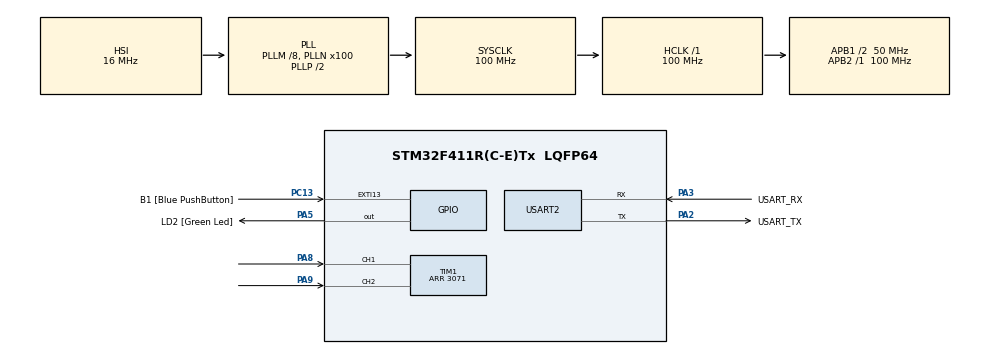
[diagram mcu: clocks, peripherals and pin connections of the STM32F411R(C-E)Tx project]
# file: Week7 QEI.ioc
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Mcu.Family=STM32F4
PC15-OSC32_OUT.Mode=LSE-External-Oscillator
RCC.CortexFreq_Value=100000000
VP_ARM.CMSIS_VS_CMSISJjCORE_5.3.0_5.6.0.Mode=CMSISJjCORE
PC13-ANTI_TAMP.GPIO_Label=B1 [Blue PushButton]
PA14.GPIO_Label=TCK
PH1\ -\ OSC_OUT.Mode=HSE-External-Clock-Source
ARM.CMSIS.5.6.0.CMSISJjDSP=Library
TIM1.EncoderMode=TIM_ENCODERMODE_TI12
RCC.APB1CLKDivider=RCC_HCLK_DIV2
PC14-OSC32_IN.Signal=RCC_OSC32_IN
RCC.SYSCLKSource=RCC_SYSCLKSOURCE_PLLCLK
ProjectManager.StackSize=0x400
PA3.Mode=Asynchronous
PA13.Signal=SYS_JTMS-SWDIO
PH0\ -\ OSC_IN.Mode=HSE-External-Clock-Source
SH.S_TIM1_CH1.0=TIM1_CH1,Encoder_Interface
PH0\ -\ OSC_IN.Signal=RCC_OSC_IN
ProjectManager.TargetToolchain=STM32CubeIDE
RCC.HCLKFreq_Value=100000000
RCC.APB2TimFreq_Value=100000000
PA9.Signal=S_TIM1_CH2
PC15-OSC32_OUT.Signal=RCC_OSC32_OUT
RCC.AHBFreq_Value=100000000
ARM.CMSIS.5.6.0.CMSISJjCORE=true
PA5.Signal=GPIO_Output
RCC.HSE_VALUE=8000000
PH1\ -\ OSC_OUT.Signal=RCC_OSC_OUT
board=NUCLEO-F411RE
PC13-ANTI_TAMP.Signal=GPXTI13
RCC.VCOOutputFreq_Value=200000000
VP_ARM.CMSIS_VS_CMSISJjDSP_1.7.0_5.6.0.Mode=CMSISJjDSP
RCC.APB2Freq_Value=100000000
PC14-OSC32_IN.Mode=LSE-External-Oscillator
SH.S_TIM1_CH2.0=TIM1_CH2,Encoder_Interface
VP_TIM2_VS_ClockSourceINT.Mode=Internal
PA14.Mode=Serial_Wire
NVIC.TIM2_IRQn=true\:0\:0\:false\:false\:true\:true\:true
PA8.Signal=S_TIM1_CH1
PA13.Mode=Serial_Wire
Mcu.Name=STM32F411R(C-E)Tx
PA2.Signal=USART2_TX
PA13.GPIO_Label=TMS
RCC.FLatency-AdvancedSettings=FLASH_LATENCY_3
RCC.48MHZClocksFreq_Value=50000000
PB3.Signal=SYS_JTDO-SWO
RCC.SYSCLKFreq_VALUE=100000000
Mcu.Package=LQFP64
TIM2.Prescaler=99
PA5.GPIO_Label=LD2 [Green Led]
USART2.VirtualMode=VM_ASYNC
PC13-ANTI_TAMP.GPIO_ModeDefaultEXTI=GPIO_MODE_IT_FALLING
PA2.GPIO_Label=USART_TX
PA14.Signal=SYS_JTCK-SWCLK
ProjectManager.HeapSize=0x200
RCC.HSI_VALUE=16000000
NVIC.PriorityGroup=NVIC_PRIORITYGROUP_0
RCC.PLLM=8
RCC.PLLN=100
RCC.APB1TimFreq_Value=100000000
PA2.Mode=Asynchronous
TIM1.Period=3071
RCC.APB1Freq_Value=50000000
PA3.GPIO_Label=USART_RX
PA3.Signal=USART2_RX
PB3.GPIO_Label=SWO

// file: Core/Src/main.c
/* USER CODE BEGIN Header */
/**
 ******************************************************************************
 * @file           : main.c
 * @brief          : Main program body
 ******************************************************************************
 * @attention
 *
 * <h2><center>&copy; Copyright (c) 2021 STMicroelectronics.
 * All rights reserved.</center></h2>
 *
 * This software component is licensed by ST under BSD 3-Clause license,
 * the "License"; You may not use this file except in compliance with the
 * License. You may obtain a copy of the License at:
 *                        opensource.org/licenses/BSD-3-Clause
 *
 ******************************************************************************
 */
/* USER CODE END Header */
#include "main.h"

/* USER CODE BEGIN Includes */
#include "arm_math.h"
/* USER CODE END Includes */

TIM_HandleTypeDef htim1;
TIM_HandleTypeDef htim2;

UART_HandleTypeDef huart2;

/* USER CODE BEGIN PV */
uint64_t _micros = 0;
float EncoderVel = 0;
uint64_t Timestamp_Encoder = 0;
/* USER CODE END PV */

void SystemClock_Config(void);
static void MX_GPIO_Init(void);
static void MX_USART2_UART_Init(void);
static void MX_TIM1_Init(void);
static void MX_TIM2_Init(void);
/* USER CODE BEGIN PFP */
uint64_t micros();
float EncoderVelocity_Update();

/* USER CODE END PFP */

int main(void)
{

  /* MCU Configuration--------------------------------------------------------*/

  /* Reset of all peripherals, Initializes the Flash interface and the Systick. */
  HAL_Init();

  /* Configure the system clock */
  SystemClock_Config();

  /* Initialize all configured peripherals */
  MX_GPIO_Init();
  MX_USART2_UART_Init();
  MX_TIM1_Init();
  MX_TIM2_Init();
  /* USER CODE BEGIN 2 */
	HAL_TIM_Base_Start_IT(&htim2);
	HAL_TIM_Encoder_Start(&htim1, TIM_CHANNEL_ALL);
  /* USER CODE END 2 */

  /* Infinite loop */
	while (1)
	{

    /* USER CODE BEGIN 3 */

		//RAW Read 1kHz/1ms
//		if (micros() - Timestamp_Encoder >= 1000) //uS
//		{
//			Timestamp_Encoder = micros();
//			EncoderVel = EncoderVelocity_Update();
//		}

		//Add LPF?
		if (micros() - Timestamp_Encoder >= 100)
		{
			Timestamp_Encoder = micros();
			EncoderVel = (EncoderVel * 99 + EncoderVelocity_Update()) / 100.0;
		}

	}
  /* USER CODE END 3 */
}

void SystemClock_Config(void)
{
  RCC_OscInitTypeDef RCC_OscInitStruct = {0};
  RCC_ClkInitTypeDef RCC_ClkInitStruct = {0};

  /** Configure the main internal regulator output voltage
  */
  __HAL_RCC_PWR_CLK_ENABLE();
  __HAL_PWR_VOLTAGESCALING_CONFIG(PWR_REGULATOR_VOLTAGE_SCALE1);
  /** Initializes the RCC Oscillators according to the specified parameters
  * in the RCC_OscInitTypeDef structure.
  */
  RCC_OscInitStruct.OscillatorType = RCC_OSCILLATORTYPE_HSI;
  RCC_OscInitStruct.HSIState = RCC_HSI_ON;
  RCC_OscInitStruct.HSICalibrationValue = RCC_HSICALIBRATION_DEFAULT;
  RCC_OscInitStruct.PLL.PLLState = RCC_PLL_ON;
  RCC_OscInitStruct.PLL.PLLSource = RCC_PLLSOURCE_HSI;
  RCC_OscInitStruct.PLL.PLLM = 8;
  RCC_OscInitStruct.PLL.PLLN = 100;
  RCC_OscInitStruct.PLL.PLLP = RCC_PLLP_DIV2;
  RCC_OscInitStruct.PLL.PLLQ = 4;
  if (HAL_RCC_OscConfig(&RCC_OscInitStruct) != HAL_OK)
  {
    Error_Handler();
  }
  /** Initializes the CPU, AHB and APB buses clocks
  */
  RCC_ClkInitStruct.ClockType = RCC_CLOCKTYPE_HCLK|RCC_CLOCKTYPE_SYSCLK
                              |RCC_CLOCKTYPE_PCLK1|RCC_CLOCKTYPE_PCLK2;
  RCC_ClkInitStruct.SYSCLKSource = RCC_SYSCLKSOURCE_PLLCLK;
  RCC_ClkInitStruct.AHBCLKDivider = RCC_SYSCLK_DIV1;
  RCC_ClkInitStruct.APB1CLKDivider = RCC_HCLK_DIV2;
  RCC_ClkInitStruct.APB2CLKDivider = RCC_HCLK_DIV1;

  if (HAL_RCC_ClockConfig(&RCC_ClkInitStruct, FLASH_LATENCY_3) != HAL_OK)
  {
    Error_Handler();
  }
}

static void MX_TIM1_Init(void)
{

  TIM_Encoder_InitTypeDef sConfig = {0};
  TIM_MasterConfigTypeDef sMasterConfig = {0};

  htim1.Instance = TIM1;
  htim1.Init.Prescaler = 0;
  htim1.Init.CounterMode = TIM_COUNTERMODE_UP;
  htim1.Init.Period = 3071;
  htim1.Init.ClockDivision = TIM_CLOCKDIVISION_DIV1;
  htim1.Init.RepetitionCounter = 0;
  htim1.Init.AutoReloadPreload = TIM_AUTORELOAD_PRELOAD_DISABLE;
  sConfig.EncoderMode = TIM_ENCODERMODE_TI12;
  sConfig.IC1Polarity = TIM_ICPOLARITY_RISING;
  sConfig.IC1Selection = TIM_ICSELECTION_DIRECTTI;
  sConfig.IC1Prescaler = TIM_ICPSC_DIV1;
  sConfig.IC1Filter = 0;
  sConfig.IC2Polarity = TIM_ICPOLARITY_RISING;
  sConfig.IC2Selection = TIM_ICSELECTION_DIRECTTI;
  sConfig.IC2Prescaler = TIM_ICPSC_DIV1;
  sConfig.IC2Filter = 0;
  if (HAL_TIM_Encoder_Init(&htim1, &sConfig) != HAL_OK)
  {
    Error_Handler();
  }
  sMasterConfig.MasterOutputTrigger = TIM_TRGO_RESET;
  sMasterConfig.MasterSlaveMode = TIM_MASTERSLAVEMODE_DISABLE;
  if (HAL_TIMEx_MasterConfigSynchronization(&htim1, &sMasterConfig) != HAL_OK)
  {
    Error_Handler();
  }

}

static void MX_TIM2_Init(void)
{

  TIM_ClockConfigTypeDef sClockSourceConfig = {0};
  TIM_MasterConfigTypeDef sMasterConfig = {0};

  htim2.Instance = TIM2;
  htim2.Init.Prescaler = 99;
  htim2.Init.CounterMode = TIM_COUNTERMODE_UP;
  htim2.Init.Period = 4294967295;
  htim2.Init.ClockDivision = TIM_CLOCKDIVISION_DIV1;
  htim2.Init.AutoReloadPreload = TIM_AUTORELOAD_PRELOAD_DISABLE;
  if (HAL_TIM_Base_Init(&htim2) != HAL_OK)
  {
    Error_Handler();
  }
  sClockSourceConfig.ClockSource = TIM_CLOCKSOURCE_INTERNAL;
  if (HAL_TIM_ConfigClockSource(&htim2, &sClockSourceConfig) != HAL_OK)
  {
    Error_Handler();
  }
  sMasterConfig.MasterOutputTrigger = TIM_TRGO_RESET;
  sMasterConfig.MasterSlaveMode = TIM_MASTERSLAVEMODE_DISABLE;
  if (HAL_TIMEx_MasterConfigSynchronization(&htim2, &sMasterConfig) != HAL_OK)
  {
    Error_Handler();
  }

}

static void MX_USART2_UART_Init(void)
{

  huart2.Instance = USART2;
  huart2.Init.BaudRate = 115200;
  huart2.Init.WordLength = UART_WORDLENGTH_8B;
  huart2.Init.StopBits = UART_STOPBITS_1;
  huart2.Init.Parity = UART_PARITY_NONE;
  huart2.Init.Mode = UART_MODE_TX_RX;
  huart2.Init.HwFlowCtl = UART_HWCONTROL_NONE;
  huart2.Init.OverSampling = UART_OVERSAMPLING_16;
  if (HAL_UART_Init(&huart2) != HAL_OK)
  {
    Error_Handler();
  }

}

static void MX_GPIO_Init(void)
{
  GPIO_InitTypeDef GPIO_InitStruct = {0};

  /* GPIO Ports Clock Enable */
  __HAL_RCC_GPIOC_CLK_ENABLE();
  __HAL_RCC_GPIOH_CLK_ENABLE();
  __HAL_RCC_GPIOA_CLK_ENABLE();
  __HAL_RCC_GPIOB_CLK_ENABLE();

  /*Configure GPIO pin Output Level */
  HAL_GPIO_WritePin(LD2_GPIO_Port, LD2_Pin, GPIO_PIN_RESET);

  /*Configure GPIO pin : B1_Pin */
  GPIO_InitStruct.Pin = B1_Pin;
  GPIO_InitStruct.Mode = GPIO_MODE_IT_FALLING;
  GPIO_InitStruct.Pull = GPIO_NOPULL;
  HAL_GPIO_Init(B1_GPIO_Port, &GPIO_InitStruct);

  /*Configure GPIO pin : LD2_Pin */
  GPIO_InitStruct.Pin = LD2_Pin;
  GPIO_InitStruct.Mode = GPIO_MODE_OUTPUT_PP;
  GPIO_InitStruct.Pull = GPIO_NOPULL;
  GPIO_InitStruct.Speed = GPIO_SPEED_FREQ_LOW;
  HAL_GPIO_Init(LD2_GPIO_Port, &GPIO_InitStruct);

}

/* USER CODE BEGIN 4 */
#define  HTIM_ENCODER htim1
#define  MAX_SUBPOSITION_OVERFLOW 1536
#define  MAX_ENCODER_PERIOD 3072

int32_t EncoderPositionDiff;
uint64_t EncoderTimeDiff;

float EncoderVelocity_Update() // Angular velocity
{

	//Save Last state
	static uint32_t EncoderLastPosition = 0;
	static uint64_t EncoderLastTimestamp = 0;

	//read data
	uint32_t EncoderNowPosition = HTIM_ENCODER.Instance->CNT;
	uint64_t EncoderNowTimestamp = micros();

	EncoderTimeDiff = EncoderNowTimestamp - EncoderLastTimestamp; //dt
	EncoderPositionDiff = EncoderNowPosition - EncoderLastPosition; //dp position

	//compensate overflow and underflow
	if (EncoderPositionDiff >= MAX_SUBPOSITION_OVERFLOW)
	{
		EncoderPositionDiff -= MAX_ENCODER_PERIOD;
	}
	else if (-EncoderPositionDiff >= MAX_SUBPOSITION_OVERFLOW)
	{
		EncoderPositionDiff += MAX_ENCODER_PERIOD;
	}

	//Update Position and time
	EncoderLastPosition = EncoderNowPosition;
	EncoderLastTimestamp = EncoderNowTimestamp;

	//Calculate velocity
	//EncoderTimeDiff is in uS
	return (EncoderPositionDiff * 1000000) / (float) EncoderTimeDiff; // pwm/s

}

void HAL_TIM_PeriodElapsedCallback(TIM_HandleTypeDef *htim)
{
	if (htim == &htim2)
	{
		_micros += 4294967295;
	}
}
uint64_t micros()
{
	return _micros + htim2.Instance->CNT;
}
/* USER CODE END 4 */

void Error_Handler(void)
{
	__disable_irq();
	while (1)
	{
	}
}

/************************ (C) COPYRIGHT STMicroelectronics *****END OF FILE****/
